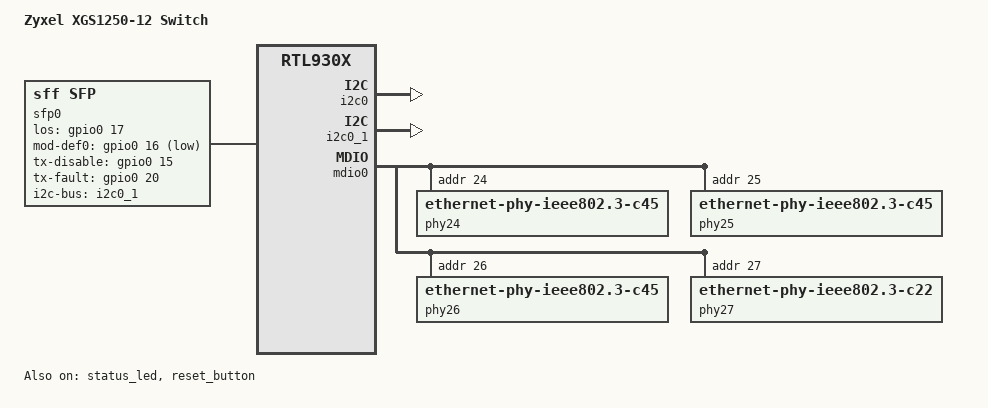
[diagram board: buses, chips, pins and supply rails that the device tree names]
// SPDX-License-Identifier: (GPL-2.0-or-later OR MIT)

/dts-v1/;

#include "rtl9302b_zyxel_xgs12xx.dtsi"

/ {
	compatible = "zyxel,xgs1250-12", "realtek,rtl9302b-soc", "realtek,rtl9302-soc", "realtek,rtl930x-soc";
	model = "Zyxel XGS1250-12 Switch";

	sfp0: sfp-p12 {
		compatible = "sff,sfp";
		i2c-bus = <&i2c0_1>;
		los-gpios = <&gpio0 17 GPIO_ACTIVE_HIGH>;
		mod-def0-gpios = <&gpio0 16 GPIO_ACTIVE_LOW>;
		tx-disable-gpios = <&gpio0 15 GPIO_ACTIVE_HIGH>;
		tx-fault-gpios = <&gpio0 20 GPIO_ACTIVE_HIGH>;
	};
};

&firmware_partition {
	openwrt,ih-magic = <0x93001250>;
};

&i2c0 {
	status = "okay";
};

&i2c0_1 {
	status = "okay";
};

&mdio0 {
	/* External Aquantia 113C PHYs */
	phy24: ethernet-phy@24 {
		reg = <24>;
		compatible = "ethernet-phy-ieee802.3-c45";
		rtl9300,smi-address = <1 8>;
		sds = <6>;
		/* Disabled because we do not know how to bring up again */
		/* reset-gpios = <&gpio0 21 GPIO_ACTIVE_LOW>; */
	};

	phy25: ethernet-phy@25 {
		reg = <25>;
		compatible = "ethernet-phy-ieee802.3-c45";
		rtl9300,smi-address = <2 8>;
		sds = <7>;
		/* Disabled because we do not know how to bring up again */
		/* reset-gpios = <&gpio0 21 GPIO_ACTIVE_LOW>; */
	};

	phy26: ethernet-phy@26 {
		reg = <26>;
		compatible = "ethernet-phy-ieee802.3-c45";
		rtl9300,smi-address = <3 8>;
		sds = <8>;
		/* Disabled because we do not know how to bring up again */
		/* reset-gpios = <&gpio0 21 GPIO_ACTIVE_LOW>; */
	};

	/* SFP+ Port */
	phy27: ethernet-phy@27 {
		reg = <27>;
		compatible = "ethernet-phy-ieee802.3-c22";
		phy-is-integrated;
		sds = <9>;
	};
};

&status_led {
	status = "okay";
};

&switch0_ports {
	port@24 {
		reg = <24>;
		label = "lan9";
		led-num = <(
			RTL93XX_LED_NUM0 | /* Amber/Lime | RGB */
			RTL93XX_LED_NUM1 | /* Amber      | Red */
			RTL93XX_LED_NUM2 | /* Lime       | Green */
			RTL93XX_LED_NUM3   /* off        | Blue */
		)>;
		led-set = <2>;
		phy-mode = "usxgmii";
		phy-handle = <&phy24>;
	};

	port@25 {
		reg = <25>;
		label = "lan10";
		led-num = <(
			RTL93XX_LED_NUM0 | /* Amber/Lime | RGB */
			RTL93XX_LED_NUM1 | /* Amber      | Red */
			RTL93XX_LED_NUM2 | /* Lime       | Green */
			RTL93XX_LED_NUM3   /* off        | Blue */
		)>;
		led-set = <2>;
		phy-mode = "usxgmii";
		phy-handle = <&phy25>;
	};

	port@26 {
		reg = <26>;
		label = "lan11";
		led-num = <(
			RTL93XX_LED_NUM0 | /* Amber/Lime | RGB */
			RTL93XX_LED_NUM1 | /* Amber      | Red */
			RTL93XX_LED_NUM2 | /* Lime       | Green */
			RTL93XX_LED_NUM3   /* off        | Blue */
		)>;
		led-set = <2>;
		phy-mode = "usxgmii";
		phy-handle = <&phy26>;
	};

	port@27 {
		reg = <27>;
		label = "lan12";
		led-num = <(
			RTL93XX_LED_NUM0 | /* Amber */
			RTL93XX_LED_NUM1   /* Lime */
		)>;
		led-set = <3>;
		phy-mode = "10gbase-r";
		phy-handle = <&phy27>;
		managed = "in-band-status";
		sfp = <&sfp0>;
	};
};

&reset_button {
	status = "okay";
};
